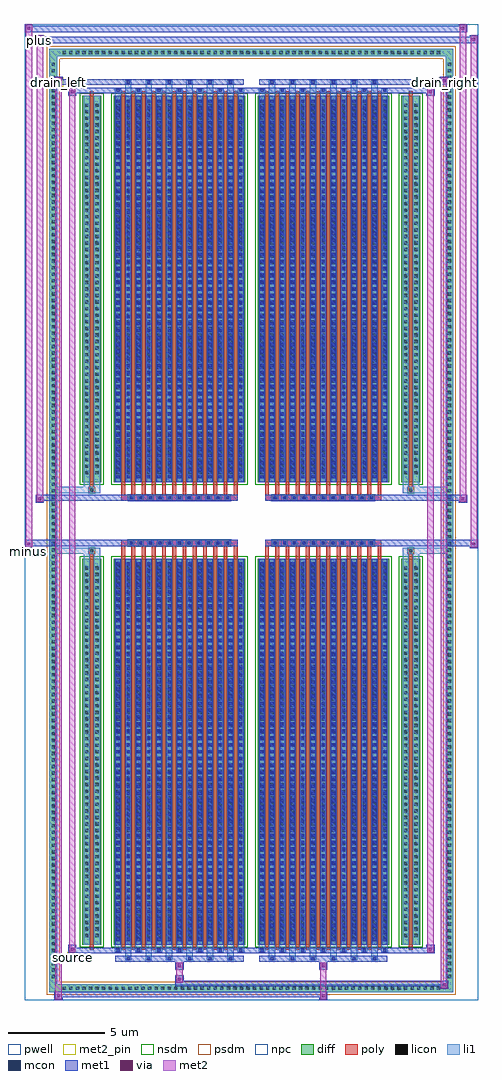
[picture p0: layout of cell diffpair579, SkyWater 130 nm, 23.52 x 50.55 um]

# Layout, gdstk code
import gdstk
lib = gdstk.Library(unit=1e-6, precision=5e-09)
def R(c, l, rs):  # rectangles x0, y0, x1, y1
    for r in rs: c.add(gdstk.rectangle(r[:2], r[2:], *l))
def A(c, l, x, y, w, h, nx, ny, dx, dy):  # array of equal rectangles
    R(c, l, [(x+i*dx, y+j*dy, x+i*dx+w, y+j*dy+h) for i in range(nx) for j in range(ny)])
def P(c, l, *ps):  # polygons
    for p in ps: c.add(gdstk.Polygon(p, *l))
pwell = (64, 44)
diff = (65, 20)
poly = (66, 20)
licon = (66, 44)
li1 = (67, 20)
mcon = (67, 44)
met1 = (68, 20)
via = (68, 44)
met2_pin = (69, 16)
met2 = (69, 20)
nsdm = (93, 44)
psdm = (94, 20)
npc = (95, 20)

diffpair579 = lib.new_cell('diffpair579')
R(diffpair579, pwell, [(-11.74,-24.84,11.74,25.71), (-9.06,-23.03,-0.01,-0.805), (0.01,-23.03,9.06,-0.805), (-9.06,0.805,-0.01,23.03), (0.01,0.805,9.06,23.03)])
A(diffpair579, diff, -9.895, -24.44, 0.41, 0.41, 58, 2, 0.34, 48.47)
A(diffpair579, diff, -10.47, -23.835, 0.41, 0.41, 1, 140, 0, 0.34)
A(diffpair579, diff, 10.06, -23.835, 0.41, 0.41, 1, 140, 0, 0.34)
R(diffpair579, diff, [(-9.895,-24.44,9.895,-24.03), (-10.47,-23.835,-10.06,23.835), (10.06,-23.835,10.47,23.835), (-8.75,-21.985,-7.77,-1.985), (-7.13,-21.985,-0.32,-1.985), (0.32,-21.985,7.13,-1.985), (7.77,-21.985,8.75,-1.985), (-8.75,1.985,-7.77,21.985), (-7.13,1.985,-0.32,21.985), (0.32,1.985,7.13,21.985), (7.77,1.985,8.75,21.985), (-9.895,24.03,9.895,24.44)])
P(diffpair579, diff, [(10.47,24.44),(-10.47,24.44),(-10.47,-24.03),(-10.06,-24.03),(-10.06,24.03),(10.06,24.03),(10.06,-24.03),(-10.06,-24.03),(-10.47,-24.03),(-10.47,-24.44),(10.47,-24.44)])
A(diffpair579, poly, -6.74, -22.235, 0.2, 20.5, 12, 2, 0.53, 23.97)
A(diffpair579, poly, 0.71, -22.235, 0.2, 20.5, 12, 2, 0.53, 23.97)
A(diffpair579, poly, -6.74, -1.735, 0.2, 0.4, 12, 2, 0.53, 3.07)
A(diffpair579, poly, 0.71, -1.735, 0.2, 0.4, 12, 2, 0.53, 3.07)
A(diffpair579, poly, -6.39, -1.335, 0.33, 0.33, 11, 2, 0.5, 2.34)
A(diffpair579, poly, 1.06, -1.335, 0.33, 0.33, 11, 2, 0.5, 2.34)
R(diffpair579, poly, [(-8.36,-22.235,-8.16,-1.735), (8.16,-22.235,8.36,-1.735), (-8.425,-1.735,-8.095,-1.405), (-8.425,-1.735,-8.095,-1.405), (8.095,-1.735,8.425,-1.405), (8.095,-1.735,8.425,-1.405), (-6.74,-1.335,-0.71,-1.005), (0.71,-1.335,6.74,-1.005), (-6.74,1.005,-0.71,1.335), (0.71,1.005,6.74,1.335), (-8.425,1.405,-8.095,1.735), (-8.425,1.405,-8.095,1.735), (8.095,1.405,8.425,1.735), (8.095,1.405,8.425,1.735), (-8.36,1.735,-8.16,22.235), (8.16,1.735,8.36,22.235)])
A(diffpair579, licon, -9.775, -24.32, 0.17, 0.17, 58, 2, 0.34, 48.47)
A(diffpair579, licon, -10.35, -23.715, 0.17, 0.17, 1, 140, 0, 0.34)
A(diffpair579, licon, 10.18, -23.715, 0.17, 0.17, 1, 140, 0, 0.34)
A(diffpair579, licon, -8.61, -21.59, 0.17, 0.17, 1, 57, 0, 0.34)
A(diffpair579, licon, -8.08, -21.59, 0.17, 0.17, 1, 57, 0, 0.34)
A(diffpair579, licon, -6.99, -21.59, 0.17, 0.17, 13, 57, 0.53, 0.34)
A(diffpair579, licon, 0.46, -21.59, 0.17, 0.17, 13, 57, 0.53, 0.34)
A(diffpair579, licon, 7.91, -21.59, 0.17, 0.17, 1, 57, 0, 0.34)
A(diffpair579, licon, 8.44, -21.59, 0.17, 0.17, 1, 57, 0, 0.34)
A(diffpair579, licon, -6.31, -1.255, 0.17, 0.17, 11, 2, 0.5, 2.34)
A(diffpair579, licon, 1.14, -1.255, 0.17, 0.17, 11, 2, 0.5, 2.34)
A(diffpair579, licon, -8.61, 2.38, 0.17, 0.17, 1, 57, 0, 0.34)
A(diffpair579, licon, -8.08, 2.38, 0.17, 0.17, 1, 57, 0, 0.34)
A(diffpair579, licon, -6.99, 2.38, 0.17, 0.17, 13, 57, 0.53, 0.34)
A(diffpair579, licon, 0.46, 2.38, 0.17, 0.17, 13, 57, 0.53, 0.34)
A(diffpair579, licon, 7.91, 2.38, 0.17, 0.17, 1, 57, 0, 0.34)
A(diffpair579, licon, 8.44, 2.38, 0.17, 0.17, 1, 57, 0, 0.34)
R(diffpair579, licon, [(-8.345,-1.655,-8.175,-1.485), (8.175,-1.655,8.345,-1.485), (-8.345,1.485,-8.175,1.655), (8.175,1.485,8.345,1.655)])
A(diffpair579, li1, -9.855, -24.4, 0.33, 0.33, 58, 2, 0.34, 48.47)
A(diffpair579, li1, -10.43, -23.795, 0.33, 0.33, 1, 140, 0, 0.34)
A(diffpair579, li1, 10.1, -23.795, 0.33, 0.33, 1, 140, 0, 0.34)
A(diffpair579, li1, -6.54, -22.79, 0.33, 0.805, 6, 2, 1.06, 44.775)
A(diffpair579, li1, -6.46, -22.79, 0.17, 0.17, 6, 2, 1.06, 45.41)
A(diffpair579, li1, 0.91, -22.79, 0.33, 0.805, 6, 2, 1.06, 44.775)
A(diffpair579, li1, 0.99, -22.79, 0.17, 0.17, 6, 2, 1.06, 45.41)
A(diffpair579, li1, -7.07, -22.36, 0.33, 0.375, 7, 2, 1.06, 44.345)
A(diffpair579, li1, -6.99, -22.36, 0.17, 0.17, 7, 2, 1.06, 44.55)
A(diffpair579, li1, 0.38, -22.36, 0.33, 0.375, 7, 2, 1.06, 44.345)
A(diffpair579, li1, 0.46, -22.36, 0.17, 0.17, 7, 2, 1.06, 44.55)
A(diffpair579, li1, -7.07, -21.985, 0.33, 20, 13, 2, 0.53, 23.97)
A(diffpair579, li1, 0.38, -21.985, 0.33, 20, 13, 2, 0.53, 23.97)
A(diffpair579, li1, -6.99, -21.79, 0.17, 0.17, 13, 55, 0.53, 0.36)
A(diffpair579, li1, -6.99, -21.79, 0.17, 19.61, 13, 2, 0.53, 23.97)
A(diffpair579, li1, 0.46, -21.79, 0.17, 0.17, 13, 55, 0.53, 0.36)
A(diffpair579, li1, 0.46, -21.79, 0.17, 19.61, 13, 2, 0.53, 23.97)
A(diffpair579, li1, -8.69, -21.67, 0.33, 0.33, 1, 57, 0, 0.34)
A(diffpair579, li1, -8.16, -21.67, 0.33, 0.33, 1, 57, 0, 0.34)
A(diffpair579, li1, -7.07, -21.67, 0.33, 0.33, 13, 57, 0.53, 0.34)
A(diffpair579, li1, 0.38, -21.67, 0.33, 0.33, 13, 57, 0.53, 0.34)
A(diffpair579, li1, 7.83, -21.67, 0.33, 0.33, 1, 57, 0, 0.34)
A(diffpair579, li1, 8.36, -21.67, 0.33, 0.33, 1, 57, 0, 0.34)
A(diffpair579, li1, -6.39, -1.335, 0.33, 0.33, 11, 2, 0.5, 2.34)
A(diffpair579, li1, 1.06, -1.335, 0.33, 0.33, 11, 2, 0.5, 2.34)
A(diffpair579, li1, -6.99, 2.18, 0.17, 0.17, 13, 55, 0.53, 0.36)
A(diffpair579, li1, 0.46, 2.18, 0.17, 0.17, 13, 55, 0.53, 0.36)
A(diffpair579, li1, -8.69, 2.3, 0.33, 0.33, 1, 57, 0, 0.34)
A(diffpair579, li1, -8.16, 2.3, 0.33, 0.33, 1, 57, 0, 0.34)
A(diffpair579, li1, -7.07, 2.3, 0.33, 0.33, 13, 57, 0.53, 0.34)
A(diffpair579, li1, 0.38, 2.3, 0.33, 0.33, 13, 57, 0.53, 0.34)
A(diffpair579, li1, 7.83, 2.3, 0.33, 0.33, 1, 57, 0, 0.34)
A(diffpair579, li1, 8.36, 2.3, 0.33, 0.33, 1, 57, 0, 0.34)
R(diffpair579, li1, [(-10.47,-24.44,-10.06,-24.03), (-10.47,-24.44,-10.06,-24.03), (-10.06,-24.44,10.06,-24.03), (10.06,-24.44,10.47,-24.03), (10.06,-24.44,10.47,-24.03), (-10.47,-24.03,-10.06,24.03), (10.06,-24.03,10.47,24.03), (-8.69,-21.985,-8.36,-1.985), (-8.16,-21.985,-7.83,-1.985), (7.83,-21.985,8.16,-1.985), (8.36,-21.985,8.69,-1.985), (-8.69,-1.985,-8.36,-1.405), (-8.16,-1.985,-7.83,-1.405), (7.83,-1.985,8.16,-1.405), (8.36,-1.985,8.69,-1.405), (-10.47,-1.735,-8.425,-1.405), (-8.69,-1.735,-8.425,-1.405), (-8.425,-1.735,-8.095,-1.405), (-8.095,-1.735,-7.83,-1.405), (7.83,-1.735,8.095,-1.405), (8.095,-1.735,8.425,-1.405), (8.095,-1.735,10.47,-1.405), (8.425,-1.735,8.69,-1.405), (-10.47,1.405,-8.425,1.735), (-8.69,1.405,-8.425,1.735), (-8.69,1.405,-8.36,1.985), (-8.425,1.405,-8.095,1.735), (-8.16,1.405,-7.83,1.985), (-8.095,1.405,-7.83,1.735), (7.83,1.405,8.095,1.735), (7.83,1.405,8.16,1.985), (8.095,1.405,8.425,1.735), (8.095,1.405,10.47,1.735), (8.36,1.405,8.69,1.985), (8.425,1.405,8.69,1.735), (-8.69,1.985,-8.36,21.985), (-8.16,1.985,-7.83,21.985), (7.83,1.985,8.16,21.985), (8.36,1.985,8.69,21.985), (-10.47,24.03,-10.06,24.44), (-10.47,24.03,-10.06,24.44), (-10.06,24.03,10.06,24.44), (10.06,24.03,10.47,24.44), (10.06,24.03,10.47,24.44)])
A(diffpair579, mcon, -6.46, -22.79, 0.17, 0.17, 6, 2, 1.06, 45.41)
A(diffpair579, mcon, 0.99, -22.79, 0.17, 0.17, 6, 2, 1.06, 45.41)
A(diffpair579, mcon, -6.99, -22.36, 0.17, 0.17, 7, 2, 1.06, 44.55)
A(diffpair579, mcon, 0.46, -22.36, 0.17, 0.17, 7, 2, 1.06, 44.55)
A(diffpair579, mcon, -6.99, -21.79, 0.17, 0.17, 13, 55, 0.53, 0.36)
A(diffpair579, mcon, 0.46, -21.79, 0.17, 0.17, 13, 55, 0.53, 0.36)
A(diffpair579, mcon, -6.31, -1.255, 0.17, 0.17, 11, 2, 0.5, 2.34)
A(diffpair579, mcon, 1.14, -1.255, 0.17, 0.17, 11, 2, 0.5, 2.34)
A(diffpair579, mcon, -6.99, 2.18, 0.17, 0.17, 13, 55, 0.53, 0.36)
A(diffpair579, mcon, 0.46, 2.18, 0.17, 0.17, 13, 55, 0.53, 0.36)
A(diffpair579, met1, -6.52, -22.85, 0.29, 0.29, 6, 2, 1.06, 45.41)
A(diffpair579, met1, 0.93, -22.85, 0.29, 0.29, 6, 2, 1.06, 45.41)
A(diffpair579, met1, -7.05, -22.42, 0.29, 0.29, 7, 2, 1.06, 44.55)
A(diffpair579, met1, 0.4, -22.42, 0.29, 0.29, 7, 2, 1.06, 44.55)
A(diffpair579, met1, -7.05, -21.985, 0.29, 20, 13, 2, 0.53, 23.97)
A(diffpair579, met1, 0.4, -21.985, 0.29, 20, 13, 2, 0.53, 23.97)
A(diffpair579, met1, -7.05, -21.85, 0.29, 0.29, 13, 55, 0.53, 0.36)
A(diffpair579, met1, 0.4, -21.85, 0.29, 0.29, 13, 55, 0.53, 0.36)
A(diffpair579, met1, -6.37, -1.315, 0.29, 0.29, 11, 2, 0.5, 2.34)
A(diffpair579, met1, 1.08, -1.315, 0.29, 0.29, 11, 2, 0.5, 2.34)
A(diffpair579, met1, -7.05, 2.12, 0.29, 0.29, 13, 55, 0.53, 0.36)
A(diffpair579, met1, 0.4, 2.12, 0.29, 0.29, 13, 55, 0.53, 0.36)
R(diffpair579, met1, [(-10.2,-24.84,-9.77,-24.41), (3.51,-24.84,3.94,-24.41), (-10.2,-24.7,3.94,-24.41), (9.77,-24.27,10.2,-23.84), (-3.94,-24.13,10.2,-23.84), (-3.94,-23.99,-3.51,-23.56), (-3.94,-23.28,-3.51,-22.85), (3.51,-23.28,3.94,-22.85), (-7.05,-22.85,-0.4,-22.56), (0.4,-22.85,7.05,-22.56), (-9.49,-22.42,-9.06,-21.99), (-9.49,-22.42,-7.05,-22.13), (-7.05,-22.42,-0.4,-22.13), (-0.4,-22.42,0.4,-22.13), (0.4,-22.42,7.05,-22.13), (7.05,-22.42,9.49,-22.13), (9.06,-22.42,9.49,-21.99), (-11.74,-1.435,-11.31,-1.005), (11.31,-1.435,11.74,-1.005), (-11.74,-1.335,-0.71,-1.005), (-6.74,-1.335,-0.71,-1.005), (0.71,-1.335,6.74,-1.005), (0.71,-1.335,11.74,-1.005), (-11.17,0.905,-10.74,1.335), (10.74,0.905,11.17,1.335), (-11.17,1.005,-6.74,1.335), (-6.74,1.005,-0.71,1.335), (0.71,1.005,6.74,1.335), (6.74,1.005,11.17,1.335), (-9.49,21.99,-9.06,22.42), (9.06,21.99,9.49,22.42), (-9.49,22.13,-7.05,22.42), (-7.05,22.13,-0.4,22.42), (-0.4,22.13,0.4,22.42), (0.4,22.13,7.05,22.42), (7.05,22.13,9.49,22.42), (-10.2,22.56,-9.77,22.99), (-10.2,22.56,-7.05,22.85), (-7.05,22.56,-0.4,22.85), (0.4,22.56,7.05,22.85), (7.05,22.56,10.2,22.85), (9.77,22.56,10.2,22.99), (-11.17,24.71,-10.74,25.14), (-11.17,24.71,-9.06,25.04), (-9.06,24.71,9.06,25.04), (9.06,24.71,11.74,25.04), (11.31,24.71,11.74,25.14), (-11.74,25.28,-11.31,25.71), (-11.74,25.28,-9.06,25.61), (-9.06,25.28,9.06,25.61), (9.06,25.28,11.17,25.61), (10.74,25.28,11.17,25.71)])
R(diffpair579, via, [(-10.06,-24.7,-9.91,-24.55), (3.65,-24.7,3.8,-24.55), (9.91,-24.13,10.06,-23.98), (-3.8,-23.85,-3.65,-23.7), (-3.8,-23.14,-3.65,-22.99), (3.65,-23.14,3.8,-22.99), (-9.35,-22.28,-9.2,-22.13), (9.2,-22.28,9.35,-22.13), (-11.6,-1.295,-11.45,-1.145), (11.45,-1.295,11.6,-1.145), (-11.03,1.045,-10.88,1.195), (10.88,1.045,11.03,1.195), (-9.35,22.13,-9.2,22.28), (9.2,22.13,9.35,22.28), (-10.06,22.7,-9.91,22.85), (9.91,22.7,10.06,22.85), (-11.03,24.85,-10.88,25), (11.45,24.85,11.6,25), (-11.6,25.42,-11.45,25.57), (10.88,25.42,11.03,25.57)])
R(diffpair579, met2_pin, [(-9.525,-22.87,-9.025,-22.37), (-11.775,-1.885,-11.275,-1.385), (-10.235,22.44,-9.735,22.94), (9.735,22.44,10.235,22.94), (-11.205,24.59,-10.705,25.09)])
R(diffpair579, met2, [(-10.15,-24.79,-9.82,-24.46), (-10.15,-24.79,-9.82,22.94), (3.56,-24.79,3.89,-24.46), (3.56,-24.46,3.89,-23.23), (9.82,-24.22,10.15,-23.89), (9.82,-24.22,10.15,22.94), (-3.89,-23.94,-3.56,-23.61), (-3.89,-23.61,-3.56,-23.23), (-3.89,-23.23,-3.56,-22.9), (3.56,-23.23,3.89,-22.9), (-9.44,-22.37,-9.11,-22.04), (-9.44,-22.37,-9.11,22.37), (9.11,-22.37,9.44,-22.04), (9.11,-22.37,9.44,22.37), (-11.69,-1.385,-11.36,-1.055), (-11.69,-1.385,-11.36,25.66), (11.36,-1.385,11.69,-1.055), (11.36,-1.385,11.69,25.09), (-11.12,0.955,-10.79,1.285), (-11.12,0.955,-10.79,25.09), (10.79,0.955,11.12,1.285), (10.79,0.955,11.12,25.66), (-9.44,22.04,-9.11,22.37), (9.11,22.04,9.44,22.37), (-10.15,22.61,-9.82,22.94), (9.82,22.61,10.15,22.94), (-11.12,24.76,-10.79,25.09), (11.36,24.76,11.69,25.09), (-11.69,25.33,-11.36,25.66), (10.79,25.33,11.12,25.66)])
P(diffpair579, met2, [(11.69,-1.385),(11.69,-1.385),(11.69,-1.055),(11.69,-1.055)],
  [(11.69,24.76),(11.69,24.76),(11.69,25.09),(11.69,25.09)],
  [(-11.36,-1.385),(-11.36,-1.385),(-11.36,-1.055),(-11.36,-1.055)],
  [(-11.36,25.33),(-11.36,25.33),(-11.36,25.66),(-11.36,25.66)],
  [(11.12,0.955),(11.12,0.955),(11.12,1.285),(11.12,1.285)],
  [(11.12,25.33),(11.12,25.33),(11.12,25.66),(11.12,25.66)],
  [(-10.79,0.955),(-10.79,0.955),(-10.79,1.285),(-10.79,1.285)],
  [(-10.79,24.76),(-10.79,24.76),(-10.79,25.09),(-10.79,25.09)],
  [(-9.82,-24.79),(-9.82,-24.79),(-9.82,-24.46),(-9.82,-24.46)],
  [(-9.82,22.61),(-9.82,22.61),(-9.82,22.94),(-9.82,22.94)],
  [(10.15,-24.22),(10.15,-24.22),(10.15,-23.89),(10.15,-23.89)],
  [(10.15,22.61),(10.15,22.61),(10.15,22.94),(10.15,22.94)],
  [(-9.11,-22.37),(-9.11,-22.37),(-9.11,-22.04),(-9.11,-22.04)],
  [(-9.11,22.04),(-9.11,22.04),(-9.11,22.37),(-9.11,22.37)],
  [(9.44,-22.37),(9.44,-22.37),(9.44,-22.04),(9.44,-22.04)],
  [(9.44,22.04),(9.44,22.04),(9.44,22.37),(9.44,22.37)])
R(diffpair579, nsdm, [(-8.88,-22.115,-7.64,-1.855), (-7.26,-22.115,-0.19,-1.855), (0.19,-22.115,7.26,-1.855), (7.64,-22.115,8.88,-1.855), (-8.88,1.855,-7.64,22.115), (-7.26,1.855,-0.19,22.115), (0.19,1.855,7.26,22.115), (7.64,1.855,8.88,22.115)])
P(diffpair579, psdm, [(10.6,24.57),(-10.6,24.57),(-10.6,-23.9),(-9.93,-23.9),(-9.93,23.9),(9.93,23.9),(9.93,-23.9),(-9.93,-23.9),(-10.6,-23.9),(-10.6,-24.57),(10.6,-24.57)])
A(diffpair579, npc, -6.41, -1.355, 0.37, 0.37, 11, 2, 0.5, 2.34)
A(diffpair579, npc, 1.04, -1.355, 0.37, 0.37, 11, 2, 0.5, 2.34)
R(diffpair579, npc, [(-8.445,-1.755,-8.075,-1.385), (8.075,-1.755,8.445,-1.385), (-6.41,-1.355,-5.54,-0.985), (-6.41,-1.355,-5.54,-0.985), (-5.91,-1.355,-5.04,-0.985), (-5.91,-1.355,-5.04,-0.985), (-5.41,-1.355,-4.54,-0.985), (-5.41,-1.355,-4.54,-0.985), (-4.91,-1.355,-4.04,-0.985), (-4.91,-1.355,-4.04,-0.985), (-4.41,-1.355,-3.54,-0.985), (-4.41,-1.355,-3.54,-0.985), (-3.91,-1.355,-3.04,-0.985), (-3.91,-1.355,-3.04,-0.985), (-3.41,-1.355,-2.54,-0.985), (-3.41,-1.355,-2.54,-0.985), (-2.91,-1.355,-2.04,-0.985), (-2.91,-1.355,-2.04,-0.985), (-2.41,-1.355,-1.54,-0.985), (-2.41,-1.355,-1.54,-0.985), (-1.91,-1.355,-1.04,-0.985), (-1.91,-1.355,-1.04,-0.985), (1.04,-1.355,1.91,-0.985), (1.04,-1.355,1.91,-0.985), (1.54,-1.355,2.41,-0.985), (1.54,-1.355,2.41,-0.985), (2.04,-1.355,2.91,-0.985), (2.04,-1.355,2.91,-0.985), (2.54,-1.355,3.41,-0.985), (2.54,-1.355,3.41,-0.985), (3.04,-1.355,3.91,-0.985), (3.04,-1.355,3.91,-0.985), (3.54,-1.355,4.41,-0.985), (3.54,-1.355,4.41,-0.985), (4.04,-1.355,4.91,-0.985), (4.04,-1.355,4.91,-0.985), (4.54,-1.355,5.41,-0.985), (4.54,-1.355,5.41,-0.985), (5.04,-1.355,5.91,-0.985), (5.04,-1.355,5.91,-0.985), (5.54,-1.355,6.41,-0.985), (5.54,-1.355,6.41,-0.985), (-6.41,0.985,-5.54,1.355), (-6.41,0.985,-5.54,1.355), (-5.91,0.985,-5.04,1.355), (-5.91,0.985,-5.04,1.355), (-5.41,0.985,-4.54,1.355), (-5.41,0.985,-4.54,1.355), (-4.91,0.985,-4.04,1.355), (-4.91,0.985,-4.04,1.355), (-4.41,0.985,-3.54,1.355), (-4.41,0.985,-3.54,1.355), (-3.91,0.985,-3.04,1.355), (-3.91,0.985,-3.04,1.355), (-3.41,0.985,-2.54,1.355), (-3.41,0.985,-2.54,1.355), (-2.91,0.985,-2.04,1.355), (-2.91,0.985,-2.04,1.355), (-2.41,0.985,-1.54,1.355), (-2.41,0.985,-1.54,1.355), (-1.91,0.985,-1.04,1.355), (-1.91,0.985,-1.04,1.355), (1.04,0.985,1.91,1.355), (1.04,0.985,1.91,1.355), (1.54,0.985,2.41,1.355), (1.54,0.985,2.41,1.355), (2.04,0.985,2.91,1.355), (2.04,0.985,2.91,1.355), (2.54,0.985,3.41,1.355), (2.54,0.985,3.41,1.355), (3.04,0.985,3.91,1.355), (3.04,0.985,3.91,1.355), (3.54,0.985,4.41,1.355), (3.54,0.985,4.41,1.355), (4.04,0.985,4.91,1.355), (4.04,0.985,4.91,1.355), (4.54,0.985,5.41,1.355), (4.54,0.985,5.41,1.355), (5.04,0.985,5.91,1.355), (5.04,0.985,5.91,1.355), (5.54,0.985,6.41,1.355), (5.54,0.985,6.41,1.355), (-8.445,1.385,-8.075,1.755), (8.075,1.385,8.445,1.755)])
diffpair579.add(gdstk.Label('minus', (-11.525,-1.635), layer=69, texttype=5))
diffpair579.add(gdstk.Label('drain_right', (9.985,22.69), layer=69, texttype=5))
diffpair579.add(gdstk.Label('drain_left', (-9.985,22.69), layer=69, texttype=5))
diffpair579.add(gdstk.Label('source', (-9.275,-22.62), layer=69, texttype=5))
diffpair579.add(gdstk.Label('plus', (-10.955,24.84), layer=69, texttype=5))

lib.write_gds('diffpair579.gds')
